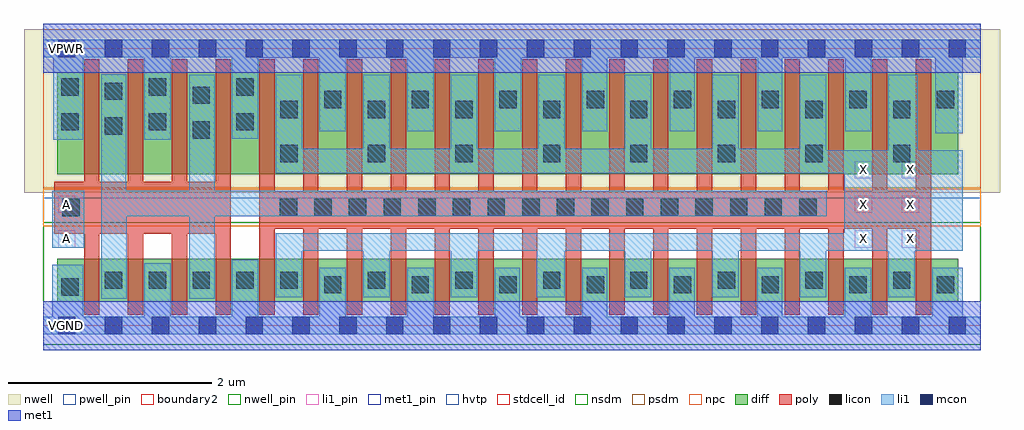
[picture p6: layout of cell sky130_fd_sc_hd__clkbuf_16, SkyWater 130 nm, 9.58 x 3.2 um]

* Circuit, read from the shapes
.subckt sky130_fd_sc_hd__clkbuf_16 A VGND VNB VPB VPWR X
XM1 n1 A VGND VNB sky130_fd_pr__nfet_01v8 w=0.42 l=0.15 m=4
XM2 X n1 VGND VNB sky130_fd_pr__nfet_01v8 w=0.42 l=0.15 m=16
XM3 n1 A VPWR VPB sky130_fd_pr__pfet_01v8_hvt w=1 l=0.15 m=4
XM4 X n1 VPWR VPB sky130_fd_pr__pfet_01v8_hvt w=1 l=0.15 m=16
.ends

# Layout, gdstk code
import gdstk
lib = gdstk.Library(unit=1e-6, precision=1e-09)
def R(c, l, rs):  # rectangles x0, y0, x1, y1
    for r in rs: c.add(gdstk.rectangle(r[:2], r[2:], *l))
def P(c, l, *ps):  # polygons
    for p in ps: c.add(gdstk.Polygon(p, *l))
nwell_pin = (64, 16)
nwell = (64, 20)
diff = (65, 20)
poly = (66, 20)
licon = (66, 44)
li1_pin = (67, 16)
li1 = (67, 20)
mcon = (67, 44)
met1_pin = (68, 16)
met1 = (68, 20)
hvtp = (78, 44)
stdcell_id = (81, 4)
nsdm = (93, 44)
psdm = (94, 20)
npc = (95, 20)
pwell_pin = (122, 16)
boundary2 = (236, 0)

sky130_fd_sc_hd__clkbuf_ = lib.new_cell('sky130_fd_sc_hd__clkbuf_16')
R(sky130_fd_sc_hd__clkbuf_, nwell_pin, [(0.145,2.635,0.315,2.805), (0.145,2.635,0.315,2.805), (0.145,2.635,0.315,2.805), (0.145,2.635,0.315,2.805), (0.145,2.635,0.315,2.805), (0.145,2.635,0.315,2.805), (0.145,2.635,0.315,2.805), (0.145,2.635,0.315,2.805)])
R(sky130_fd_sc_hd__clkbuf_, nwell, [(-0.19,1.305,9.39,2.91), (-0.19,1.305,9.39,2.91), (-0.19,1.305,9.39,2.91), (-0.19,1.305,9.39,2.91)])
R(sky130_fd_sc_hd__clkbuf_, diff, [(0.135,0.235,8.98,0.655), (0.135,0.235,8.98,0.655), (0.135,0.235,8.98,0.655), (0.135,0.235,8.98,0.655), (0.135,1.485,8.98,2.485), (0.135,1.485,8.98,2.485), (0.135,1.485,8.98,2.485), (0.135,1.485,8.98,2.485)])
P(sky130_fd_sc_hd__clkbuf_, poly, [(2.12,0.105),(2.12,2.615),(2.27,2.615),(2.27,1.325),(2.55,1.325),(2.55,2.615),(2.7,2.615),(2.7,1.325),(2.98,1.325),(2.98,2.615),(3.13,2.615),(3.13,1.325),(3.41,1.325),(3.41,2.615),(3.56,2.615),(3.56,1.325),(3.84,1.325),(3.84,2.615),(3.99,2.615),(3.99,1.325),(4.27,1.325),(4.27,2.615),(4.42,2.615),(4.42,1.325),(4.7,1.325),(4.7,2.615),(4.85,2.615),(4.85,1.325),(5.13,1.325),(5.13,2.615),(5.28,2.615),(5.28,1.325),(5.555,1.325),(5.555,2.615),(5.705,2.615),(5.705,1.325),(5.985,1.325),(5.985,2.615),(6.135,2.615),(6.135,1.325),(6.415,1.325),(6.415,2.615),(6.565,2.615),(6.565,1.325),(6.845,1.325),(6.845,2.615),(6.995,2.615),(6.995,1.325),(7.275,1.325),(7.275,2.615),(7.425,2.615),(7.425,1.325),(7.705,1.325),(7.705,2.615),(7.855,2.615),(7.855,1.325),(8.135,1.325),(8.135,2.615),(8.285,2.615),(8.285,1.325),(8.565,1.325),(8.565,2.615),(8.715,2.615),(8.715,0.105),(8.565,0.105),(8.565,0.95),(8.285,0.95),(8.285,0.105),(8.135,0.105),(8.135,0.95),(7.855,0.95),(7.855,0.105),(7.705,0.105),(7.705,0.95),(7.425,0.95),(7.425,0.105),(7.275,0.105),(7.275,0.95),(6.995,0.95),(6.995,0.105),(6.845,0.105),(6.845,0.95),(6.565,0.95),(6.565,0.105),(6.415,0.105),(6.415,0.95),(6.135,0.95),(6.135,0.105),(5.985,0.105),(5.985,0.95),(5.705,0.95),(5.705,0.105),(5.555,0.105),(5.555,0.95),(5.28,0.95),(5.28,0.105),(5.13,0.105),(5.13,0.95),(4.85,0.95),(4.85,0.105),(4.7,0.105),(4.7,0.95),(4.42,0.95),(4.42,0.105),(4.27,0.105),(4.27,0.95),(3.99,0.95),(3.99,0.105),(3.84,0.105),(3.84,0.95),(3.56,0.95),(3.56,0.105),(3.41,0.105),(3.41,0.95),(3.13,0.95),(3.13,0.105),(2.98,0.105),(2.98,0.95),(2.7,0.95),(2.7,0.105),(2.55,0.105),(2.55,0.95),(2.27,0.95),(2.27,0.105)],
  [(0.4,0.105),(0.4,0.9),(0.105,0.9),(0.105,1.41),(0.4,1.41),(0.4,2.615),(0.55,2.615),(0.55,1.41),(0.83,1.41),(0.83,2.615),(0.98,2.615),(0.98,1.41),(1.26,1.41),(1.26,2.615),(1.41,2.615),(1.41,1.41),(1.69,1.41),(1.69,2.615),(1.84,2.615),(1.84,0.105),(1.69,0.105),(1.69,0.9),(1.41,0.9),(1.41,0.105),(1.26,0.105),(1.26,0.9),(0.98,0.9),(0.98,0.105),(0.83,0.105),(0.83,0.9),(0.55,0.9),(0.55,0.105)],
  [(2.12,0.105),(2.12,2.615),(2.27,2.615),(2.27,1.325),(2.55,1.325),(2.55,2.615),(2.7,2.615),(2.7,1.325),(2.98,1.325),(2.98,2.615),(3.13,2.615),(3.13,1.325),(3.41,1.325),(3.41,2.615),(3.56,2.615),(3.56,1.325),(3.84,1.325),(3.84,2.615),(3.99,2.615),(3.99,1.325),(4.27,1.325),(4.27,2.615),(4.42,2.615),(4.42,1.325),(4.7,1.325),(4.7,2.615),(4.85,2.615),(4.85,1.325),(5.13,1.325),(5.13,2.615),(5.28,2.615),(5.28,1.325),(5.555,1.325),(5.555,2.615),(5.705,2.615),(5.705,1.325),(5.985,1.325),(5.985,2.615),(6.135,2.615),(6.135,1.325),(6.415,1.325),(6.415,2.615),(6.565,2.615),(6.565,1.325),(6.845,1.325),(6.845,2.615),(6.995,2.615),(6.995,1.325),(7.275,1.325),(7.275,2.615),(7.425,2.615),(7.425,1.325),(7.705,1.325),(7.705,2.615),(7.855,2.615),(7.855,1.325),(8.135,1.325),(8.135,2.615),(8.285,2.615),(8.285,1.325),(8.565,1.325),(8.565,2.615),(8.715,2.615),(8.715,0.105),(8.565,0.105),(8.565,0.95),(8.285,0.95),(8.285,0.105),(8.135,0.105),(8.135,0.95),(7.855,0.95),(7.855,0.105),(7.705,0.105),(7.705,0.95),(7.425,0.95),(7.425,0.105),(7.275,0.105),(7.275,0.95),(6.995,0.95),(6.995,0.105),(6.845,0.105),(6.845,0.95),(6.565,0.95),(6.565,0.105),(6.415,0.105),(6.415,0.95),(6.135,0.95),(6.135,0.105),(5.985,0.105),(5.985,0.95),(5.705,0.95),(5.705,0.105),(5.555,0.105),(5.555,0.95),(5.28,0.95),(5.28,0.105),(5.13,0.105),(5.13,0.95),(4.85,0.95),(4.85,0.105),(4.7,0.105),(4.7,0.95),(4.42,0.95),(4.42,0.105),(4.27,0.105),(4.27,0.95),(3.99,0.95),(3.99,0.105),(3.84,0.105),(3.84,0.95),(3.56,0.95),(3.56,0.105),(3.41,0.105),(3.41,0.95),(3.13,0.95),(3.13,0.105),(2.98,0.105),(2.98,0.95),(2.7,0.95),(2.7,0.105),(2.55,0.105),(2.55,0.95),(2.27,0.95),(2.27,0.105)],
  [(0.4,0.105),(0.4,0.9),(0.105,0.9),(0.105,1.41),(0.4,1.41),(0.4,2.615),(0.55,2.615),(0.55,1.41),(0.83,1.41),(0.83,2.615),(0.98,2.615),(0.98,1.41),(1.26,1.41),(1.26,2.615),(1.41,2.615),(1.41,1.41),(1.69,1.41),(1.69,2.615),(1.84,2.615),(1.84,0.105),(1.69,0.105),(1.69,0.9),(1.41,0.9),(1.41,0.105),(1.26,0.105),(1.26,0.9),(0.98,0.9),(0.98,0.105),(0.83,0.105),(0.83,0.9),(0.55,0.9),(0.55,0.105)],
  [(2.12,0.105),(2.12,2.615),(2.27,2.615),(2.27,1.325),(2.55,1.325),(2.55,2.615),(2.7,2.615),(2.7,1.325),(2.98,1.325),(2.98,2.615),(3.13,2.615),(3.13,1.325),(3.41,1.325),(3.41,2.615),(3.56,2.615),(3.56,1.325),(3.84,1.325),(3.84,2.615),(3.99,2.615),(3.99,1.325),(4.27,1.325),(4.27,2.615),(4.42,2.615),(4.42,1.325),(4.7,1.325),(4.7,2.615),(4.85,2.615),(4.85,1.325),(5.13,1.325),(5.13,2.615),(5.28,2.615),(5.28,1.325),(5.555,1.325),(5.555,2.615),(5.705,2.615),(5.705,1.325),(5.985,1.325),(5.985,2.615),(6.135,2.615),(6.135,1.325),(6.415,1.325),(6.415,2.615),(6.565,2.615),(6.565,1.325),(6.845,1.325),(6.845,2.615),(6.995,2.615),(6.995,1.325),(7.275,1.325),(7.275,2.615),(7.425,2.615),(7.425,1.325),(7.705,1.325),(7.705,2.615),(7.855,2.615),(7.855,1.325),(8.135,1.325),(8.135,2.615),(8.285,2.615),(8.285,1.325),(8.565,1.325),(8.565,2.615),(8.715,2.615),(8.715,0.105),(8.565,0.105),(8.565,0.95),(8.285,0.95),(8.285,0.105),(8.135,0.105),(8.135,0.95),(7.855,0.95),(7.855,0.105),(7.705,0.105),(7.705,0.95),(7.425,0.95),(7.425,0.105),(7.275,0.105),(7.275,0.95),(6.995,0.95),(6.995,0.105),(6.845,0.105),(6.845,0.95),(6.565,0.95),(6.565,0.105),(6.415,0.105),(6.415,0.95),(6.135,0.95),(6.135,0.105),(5.985,0.105),(5.985,0.95),(5.705,0.95),(5.705,0.105),(5.555,0.105),(5.555,0.95),(5.28,0.95),(5.28,0.105),(5.13,0.105),(5.13,0.95),(4.85,0.95),(4.85,0.105),(4.7,0.105),(4.7,0.95),(4.42,0.95),(4.42,0.105),(4.27,0.105),(4.27,0.95),(3.99,0.95),(3.99,0.105),(3.84,0.105),(3.84,0.95),(3.56,0.95),(3.56,0.105),(3.41,0.105),(3.41,0.95),(3.13,0.95),(3.13,0.105),(2.98,0.105),(2.98,0.95),(2.7,0.95),(2.7,0.105),(2.55,0.105),(2.55,0.95),(2.27,0.95),(2.27,0.105)],
  [(0.4,0.105),(0.4,0.9),(0.105,0.9),(0.105,1.41),(0.4,1.41),(0.4,2.615),(0.55,2.615),(0.55,1.41),(0.83,1.41),(0.83,2.615),(0.98,2.615),(0.98,1.41),(1.26,1.41),(1.26,2.615),(1.41,2.615),(1.41,1.41),(1.69,1.41),(1.69,2.615),(1.84,2.615),(1.84,0.105),(1.69,0.105),(1.69,0.9),(1.41,0.9),(1.41,0.105),(1.26,0.105),(1.26,0.9),(0.98,0.9),(0.98,0.105),(0.83,0.105),(0.83,0.9),(0.55,0.9),(0.55,0.105)],
  [(2.12,0.105),(2.12,2.615),(2.27,2.615),(2.27,1.325),(2.55,1.325),(2.55,2.615),(2.7,2.615),(2.7,1.325),(2.98,1.325),(2.98,2.615),(3.13,2.615),(3.13,1.325),(3.41,1.325),(3.41,2.615),(3.56,2.615),(3.56,1.325),(3.84,1.325),(3.84,2.615),(3.99,2.615),(3.99,1.325),(4.27,1.325),(4.27,2.615),(4.42,2.615),(4.42,1.325),(4.7,1.325),(4.7,2.615),(4.85,2.615),(4.85,1.325),(5.13,1.325),(5.13,2.615),(5.28,2.615),(5.28,1.325),(5.555,1.325),(5.555,2.615),(5.705,2.615),(5.705,1.325),(5.985,1.325),(5.985,2.615),(6.135,2.615),(6.135,1.325),(6.415,1.325),(6.415,2.615),(6.565,2.615),(6.565,1.325),(6.845,1.325),(6.845,2.615),(6.995,2.615),(6.995,1.325),(7.275,1.325),(7.275,2.615),(7.425,2.615),(7.425,1.325),(7.705,1.325),(7.705,2.615),(7.855,2.615),(7.855,1.325),(8.135,1.325),(8.135,2.615),(8.285,2.615),(8.285,1.325),(8.565,1.325),(8.565,2.615),(8.715,2.615),(8.715,0.105),(8.565,0.105),(8.565,0.95),(8.285,0.95),(8.285,0.105),(8.135,0.105),(8.135,0.95),(7.855,0.95),(7.855,0.105),(7.705,0.105),(7.705,0.95),(7.425,0.95),(7.425,0.105),(7.275,0.105),(7.275,0.95),(6.995,0.95),(6.995,0.105),(6.845,0.105),(6.845,0.95),(6.565,0.95),(6.565,0.105),(6.415,0.105),(6.415,0.95),(6.135,0.95),(6.135,0.105),(5.985,0.105),(5.985,0.95),(5.705,0.95),(5.705,0.105),(5.555,0.105),(5.555,0.95),(5.28,0.95),(5.28,0.105),(5.13,0.105),(5.13,0.95),(4.85,0.95),(4.85,0.105),(4.7,0.105),(4.7,0.95),(4.42,0.95),(4.42,0.105),(4.27,0.105),(4.27,0.95),(3.99,0.95),(3.99,0.105),(3.84,0.105),(3.84,0.95),(3.56,0.95),(3.56,0.105),(3.41,0.105),(3.41,0.95),(3.13,0.95),(3.13,0.105),(2.98,0.105),(2.98,0.95),(2.7,0.95),(2.7,0.105),(2.55,0.105),(2.55,0.95),(2.27,0.95),(2.27,0.105)],
  [(0.4,0.105),(0.4,0.9),(0.105,0.9),(0.105,1.41),(0.4,1.41),(0.4,2.615),(0.55,2.615),(0.55,1.41),(0.83,1.41),(0.83,2.615),(0.98,2.615),(0.98,1.41),(1.26,1.41),(1.26,2.615),(1.41,2.615),(1.41,1.41),(1.69,1.41),(1.69,2.615),(1.84,2.615),(1.84,0.105),(1.69,0.105),(1.69,0.9),(1.41,0.9),(1.41,0.105),(1.26,0.105),(1.26,0.9),(0.98,0.9),(0.98,0.105),(0.83,0.105),(0.83,0.9),(0.55,0.9),(0.55,0.105)])
R(sky130_fd_sc_hd__clkbuf_, licon, [(0.175,0.295,0.345,0.465), (0.175,0.295,0.345,0.465), (0.175,0.295,0.345,0.465), (0.175,0.295,0.345,0.465), (2.755,0.315,2.925,0.485), (2.755,0.315,2.925,0.485), (2.755,0.315,2.925,0.485), (2.755,0.315,2.925,0.485), (3.615,0.315,3.785,0.485), (3.615,0.315,3.785,0.485), (3.615,0.315,3.785,0.485), (3.615,0.315,3.785,0.485), (4.475,0.315,4.645,0.485), (4.475,0.315,4.645,0.485), (4.475,0.315,4.645,0.485), (4.475,0.315,4.645,0.485), (5.335,0.315,5.505,0.485), (5.335,0.315,5.505,0.485), (5.335,0.315,5.505,0.485), (5.335,0.315,5.505,0.485), (6.19,0.315,6.36,0.485), (6.19,0.315,6.36,0.485), (6.19,0.315,6.36,0.485), (6.19,0.315,6.36,0.485), (7.05,0.315,7.22,0.485), (7.05,0.315,7.22,0.485), (7.05,0.315,7.22,0.485), (7.05,0.315,7.22,0.485), (7.91,0.315,8.08,0.485), (7.91,0.315,8.08,0.485), (7.91,0.315,8.08,0.485), (7.91,0.315,8.08,0.485), (8.77,0.315,8.94,0.485), (8.77,0.315,8.94,0.485), (8.77,0.315,8.94,0.485), (8.77,0.315,8.94,0.485), (0.605,0.36,0.775,0.53), (0.605,0.36,0.775,0.53), (0.605,0.36,0.775,0.53), (0.605,0.36,0.775,0.53), (1.035,0.36,1.205,0.53), (1.035,0.36,1.205,0.53), (1.035,0.36,1.205,0.53), (1.035,0.36,1.205,0.53), (1.465,0.36,1.635,0.53), (1.465,0.36,1.635,0.53), (1.465,0.36,1.635,0.53), (1.465,0.36,1.635,0.53), (1.895,0.36,2.065,0.53), (1.895,0.36,2.065,0.53), (1.895,0.36,2.065,0.53), (1.895,0.36,2.065,0.53), (2.325,0.36,2.495,0.53), (2.325,0.36,2.495,0.53), (2.325,0.36,2.495,0.53), (2.325,0.36,2.495,0.53), (3.185,0.36,3.355,0.53), (3.185,0.36,3.355,0.53), (3.185,0.36,3.355,0.53), (3.185,0.36,3.355,0.53), (4.045,0.36,4.215,0.53), (4.045,0.36,4.215,0.53), (4.045,0.36,4.215,0.53), (4.045,0.36,4.215,0.53), (4.905,0.36,5.075,0.53), (4.905,0.36,5.075,0.53), (4.905,0.36,5.075,0.53), (4.905,0.36,5.075,0.53), (5.76,0.36,5.93,0.53), (5.76,0.36,5.93,0.53), (5.76,0.36,5.93,0.53), (5.76,0.36,5.93,0.53), (6.62,0.36,6.79,0.53), (6.62,0.36,6.79,0.53), (6.62,0.36,6.79,0.53), (6.62,0.36,6.79,0.53), (7.48,0.36,7.65,0.53), (7.48,0.36,7.65,0.53), (7.48,0.36,7.65,0.53), (7.48,0.36,7.65,0.53), (8.34,0.36,8.51,0.53), (8.34,0.36,8.51,0.53), (8.34,0.36,8.51,0.53), (8.34,0.36,8.51,0.53), (0.185,1.075,0.355,1.245), (0.185,1.075,0.355,1.245), (0.185,1.075,0.355,1.245), (0.185,1.075,0.355,1.245), (2.32,1.075,2.49,1.245), (2.32,1.075,2.49,1.245), (2.32,1.075,2.49,1.245), (2.32,1.075,2.49,1.245), (2.66,1.075,2.83,1.245), (2.66,1.075,2.83,1.245), (2.66,1.075,2.83,1.245), (2.66,1.075,2.83,1.245), (3,1.075,3.17,1.245), (3,1.075,3.17,1.245), (3,1.075,3.17,1.245), (3,1.075,3.17,1.245), (3.34,1.075,3.51,1.245), (3.34,1.075,3.51,1.245), (3.34,1.075,3.51,1.245), (3.34,1.075,3.51,1.245), (3.68,1.075,3.85,1.245), (3.68,1.075,3.85,1.245), (3.68,1.075,3.85,1.245), (3.68,1.075,3.85,1.245), (4.02,1.075,4.19,1.245), (4.02,1.075,4.19,1.245), (4.02,1.075,4.19,1.245), (4.02,1.075,4.19,1.245), (4.36,1.075,4.53,1.245), (4.36,1.075,4.53,1.245), (4.36,1.075,4.53,1.245), (4.36,1.075,4.53,1.245), (4.7,1.075,4.87,1.245), (4.7,1.075,4.87,1.245), (4.7,1.075,4.87,1.245), (4.7,1.075,4.87,1.245), (5.04,1.075,5.21,1.245), (5.04,1.075,5.21,1.245), (5.04,1.075,5.21,1.245), (5.04,1.075,5.21,1.245), (5.38,1.075,5.55,1.245), (5.38,1.075,5.55,1.245), (5.38,1.075,5.55,1.245), (5.38,1.075,5.55,1.245), (5.72,1.075,5.89,1.245), (5.72,1.075,5.89,1.245), (5.72,1.075,5.89,1.245), (5.72,1.075,5.89,1.245), (6.06,1.075,6.23,1.245), (6.06,1.075,6.23,1.245), (6.06,1.075,6.23,1.245), (6.06,1.075,6.23,1.245), (6.4,1.075,6.57,1.245), (6.4,1.075,6.57,1.245), (6.4,1.075,6.57,1.245), (6.4,1.075,6.57,1.245), (6.74,1.075,6.91,1.245), (6.74,1.075,6.91,1.245), (6.74,1.075,6.91,1.245), (6.74,1.075,6.91,1.245), (7.08,1.075,7.25,1.245), (7.08,1.075,7.25,1.245), (7.08,1.075,7.25,1.245), (7.08,1.075,7.25,1.245), (7.42,1.075,7.59,1.245), (7.42,1.075,7.59,1.245), (7.42,1.075,7.59,1.245), (7.42,1.075,7.59,1.245), (2.325,1.605,2.495,1.775), (2.325,1.605,2.495,1.775), (2.325,1.605,2.495,1.775), (2.325,1.605,2.495,1.775), (3.185,1.605,3.355,1.775), (3.185,1.605,3.355,1.775), (3.185,1.605,3.355,1.775), (3.185,1.605,3.355,1.775), (4.045,1.605,4.215,1.775), (4.045,1.605,4.215,1.775), (4.045,1.605,4.215,1.775), (4.045,1.605,4.215,1.775), (4.905,1.605,5.075,1.775), (4.905,1.605,5.075,1.775), (4.905,1.605,5.075,1.775), (4.905,1.605,5.075,1.775), (5.76,1.605,5.93,1.775), (5.76,1.605,5.93,1.775), (5.76,1.605,5.93,1.775), (5.76,1.605,5.93,1.775), (6.62,1.605,6.79,1.775), (6.62,1.605,6.79,1.775), (6.62,1.605,6.79,1.775), (6.62,1.605,6.79,1.775), (7.48,1.605,7.65,1.775), (7.48,1.605,7.65,1.775), (7.48,1.605,7.65,1.775), (7.48,1.605,7.65,1.775), (8.34,1.605,8.51,1.775), (8.34,1.605,8.51,1.775), (8.34,1.605,8.51,1.775), (8.34,1.605,8.51,1.775), (1.465,1.835,1.635,2.005), (1.465,1.835,1.635,2.005), (1.465,1.835,1.635,2.005), (1.465,1.835,1.635,2.005), (0.605,1.875,0.775,2.045), (0.605,1.875,0.775,2.045), (0.605,1.875,0.775,2.045), (0.605,1.875,0.775,2.045), (0.175,1.915,0.345,2.085), (0.175,1.915,0.345,2.085), (0.175,1.915,0.345,2.085), (0.175,1.915,0.345,2.085), (1.035,1.915,1.205,2.085), (1.035,1.915,1.205,2.085), (1.035,1.915,1.205,2.085), (1.035,1.915,1.205,2.085), (1.895,1.915,2.065,2.085), (1.895,1.915,2.065,2.085), (1.895,1.915,2.065,2.085), (1.895,1.915,2.065,2.085), (2.325,2.035,2.495,2.205), (2.325,2.035,2.495,2.205), (2.325,2.035,2.495,2.205), (2.325,2.035,2.495,2.205), (3.185,2.035,3.355,2.205), (3.185,2.035,3.355,2.205), (3.185,2.035,3.355,2.205), (3.185,2.035,3.355,2.205), (4.045,2.035,4.215,2.205), (4.045,2.035,4.215,2.205), (4.045,2.035,4.215,2.205), (4.045,2.035,4.215,2.205), (4.905,2.035,5.075,2.205), (4.905,2.035,5.075,2.205), (4.905,2.035,5.075,2.205), (4.905,2.035,5.075,2.205), (5.76,2.035,5.93,2.205), (5.76,2.035,5.93,2.205), (5.76,2.035,5.93,2.205), (5.76,2.035,5.93,2.205), (6.62,2.035,6.79,2.205), (6.62,2.035,6.79,2.205), (6.62,2.035,6.79,2.205), (6.62,2.035,6.79,2.205), (7.48,2.035,7.65,2.205), (7.48,2.035,7.65,2.205), (7.48,2.035,7.65,2.205), (7.48,2.035,7.65,2.205), (8.34,2.035,8.51,2.205), (8.34,2.035,8.51,2.205), (8.34,2.035,8.51,2.205), (8.34,2.035,8.51,2.205), (2.755,2.135,2.925,2.305), (2.755,2.135,2.925,2.305), (2.755,2.135,2.925,2.305), (2.755,2.135,2.925,2.305), (3.615,2.135,3.785,2.305), (3.615,2.135,3.785,2.305), (3.615,2.135,3.785,2.305), (3.615,2.135,3.785,2.305), (4.475,2.135,4.645,2.305), (4.475,2.135,4.645,2.305), (4.475,2.135,4.645,2.305), (4.475,2.135,4.645,2.305), (5.335,2.135,5.505,2.305), (5.335,2.135,5.505,2.305), (5.335,2.135,5.505,2.305), (5.335,2.135,5.505,2.305), (6.19,2.135,6.36,2.305), (6.19,2.135,6.36,2.305), (6.19,2.135,6.36,2.305), (6.19,2.135,6.36,2.305), (7.05,2.135,7.22,2.305), (7.05,2.135,7.22,2.305), (7.05,2.135,7.22,2.305), (7.05,2.135,7.22,2.305), (7.91,2.135,8.08,2.305), (7.91,2.135,8.08,2.305), (7.91,2.135,8.08,2.305), (7.91,2.135,8.08,2.305), (8.77,2.135,8.94,2.305), (8.77,2.135,8.94,2.305), (8.77,2.135,8.94,2.305), (8.77,2.135,8.94,2.305), (1.465,2.175,1.635,2.345), (1.465,2.175,1.635,2.345), (1.465,2.175,1.635,2.345), (1.465,2.175,1.635,2.345), (0.605,2.215,0.775,2.385), (0.605,2.215,0.775,2.385), (0.605,2.215,0.775,2.385), (0.605,2.215,0.775,2.385), (0.175,2.255,0.345,2.425), (0.175,2.255,0.345,2.425), (0.175,2.255,0.345,2.425), (0.175,2.255,0.345,2.425), (1.035,2.255,1.205,2.425), (1.035,2.255,1.205,2.425), (1.035,2.255,1.205,2.425), (1.035,2.255,1.205,2.425), (1.895,2.255,2.065,2.425), (1.895,2.255,2.065,2.425), (1.895,2.255,2.065,2.425), (1.895,2.255,2.065,2.425)])
R(sky130_fd_sc_hd__clkbuf_, li1_pin, [(0.145,0.765,0.315,0.935), (0.145,0.765,0.315,0.935), (0.145,0.765,0.315,0.935), (0.145,0.765,0.315,0.935), (7.965,0.765,8.135,0.935), (7.965,0.765,8.135,0.935), (7.965,0.765,8.135,0.935), (7.965,0.765,8.135,0.935), (8.425,0.765,8.595,0.935), (8.425,0.765,8.595,0.935), (8.425,0.765,8.595,0.935), (8.425,0.765,8.595,0.935), (0.145,1.105,0.315,1.275), (0.145,1.105,0.315,1.275), (0.145,1.105,0.315,1.275), (0.145,1.105,0.315,1.275), (7.965,1.105,8.135,1.275), (7.965,1.105,8.135,1.275), (7.965,1.105,8.135,1.275), (7.965,1.105,8.135,1.275), (8.425,1.105,8.595,1.275), (8.425,1.105,8.595,1.275), (8.425,1.105,8.595,1.275), (8.425,1.105,8.595,1.275), (7.965,1.445,8.135,1.615), (7.965,1.445,8.135,1.615), (7.965,1.445,8.135,1.615), (7.965,1.445,8.135,1.615), (8.425,1.445,8.595,1.615), (8.425,1.445,8.595,1.615), (8.425,1.445,8.595,1.615), (8.425,1.445,8.595,1.615)])
R(sky130_fd_sc_hd__clkbuf_, li1, [(0.085,0.765,0.4,1.325), (0.085,0.765,0.4,1.325), (0.085,0.765,0.4,1.325), (0.085,0.765,0.4,1.325)])
P(sky130_fd_sc_hd__clkbuf_, li1, [(0.095,1.825),(0.095,2.635),(0,2.635),(0,2.805),(9.2,2.805),(9.2,2.635),(9.025,2.635),(9.025,1.89),(8.755,1.89),(8.755,2.635),(8.125,2.635),(8.125,1.905),(7.87,1.905),(7.87,2.63),(7.255,2.63),(7.255,1.905),(7.01,1.905),(7.01,2.63),(6.395,2.63),(6.395,1.905),(6.15,1.905),(6.15,2.63),(5.535,2.63),(5.535,1.905),(5.29,1.905),(5.29,2.63),(4.69,2.63),(4.69,1.905),(4.43,1.905),(4.43,2.63),(3.83,2.63),(3.83,1.905),(3.57,1.905),(3.57,2.63),(2.97,2.63),(2.97,1.905),(2.71,1.905),(2.71,2.63),(2.11,2.63),(2.11,1.835),(1.85,1.835),(1.85,2.635),(1.25,2.635),(1.25,1.825),(0.99,1.825),(0.99,2.635),(0.39,2.635),(0.39,1.825)],
  [(2.28,0.28),(2.28,0.905),(7.86,0.905),(7.86,1.495),(2.28,1.495),(2.28,2.46),(2.54,2.46),(2.54,1.735),(3.14,1.735),(3.14,2.46),(3.4,2.46),(3.4,1.735),(4,1.735),(4,2.46),(4.26,2.46),(4.26,1.735),(4.86,1.735),(4.86,2.46),(5.12,2.46),(5.12,1.735),(5.705,1.735),(5.705,2.46),(5.965,2.46),(5.965,1.735),(6.565,1.735),(6.565,2.46),(6.825,2.46),(6.825,1.735),(7.425,1.735),(7.425,2.46),(7.685,2.46),(7.685,1.72),(8.295,1.72),(8.295,2.46),(8.585,2.46),(8.585,1.72),(9.025,1.72),(9.025,0.735),(8.555,0.735),(8.555,0.28),(8.295,0.28),(8.295,0.735),(7.685,0.735),(7.685,0.28),(7.425,0.28),(7.425,0.735),(6.825,0.735),(6.825,0.28),(6.565,0.28),(6.565,0.735),(5.965,0.735),(5.965,0.28),(5.705,0.28),(5.705,0.735),(5.12,0.735),(5.12,0.28),(4.845,0.28),(4.845,0.735),(4.26,0.735),(4.26,0.28),(4,0.28),(4,0.735),(3.4,0.735),(3.4,0.28),(3.14,0.28),(3.14,0.735),(2.54,0.735),(2.54,0.28)],
  [(0,-0.085),(0,0.085),(0.085,0.085),(0.085,0.595),(0.39,0.595),(0.39,0.085),(0.99,0.085),(0.99,0.61),(1.25,0.61),(1.25,0.085),(1.85,0.085),(1.85,0.645),(2.11,0.645),(2.11,0.085),(2.71,0.085),(2.71,0.565),(2.97,0.565),(2.97,0.085),(3.57,0.085),(3.57,0.565),(3.83,0.565),(3.83,0.085),(4.43,0.085),(4.43,0.565),(4.675,0.565),(4.675,0.085),(5.29,0.085),(5.29,0.565),(5.535,0.565),(5.535,0.085),(6.145,0.085),(6.145,0.565),(6.395,0.565),(6.395,0.085),(7.005,0.085),(7.005,0.565),(7.255,0.565),(7.255,0.085),(7.865,0.085),(7.865,0.565),(8.125,0.565),(8.125,0.085),(8.725,0.085),(8.725,0.565),(9.025,0.565),(9.025,0.085),(9.2,0.085),(9.2,-0.085)],
  [(0.57,0.265),(0.57,2.465),(0.815,2.465),(0.815,1.325),(1.43,1.325),(1.43,2.46),(1.68,2.46),(1.68,1.325),(7.69,1.325),(7.69,1.075),(1.68,1.075),(1.68,0.265),(1.43,0.265),(1.43,1.075),(0.82,1.075),(0.82,0.265)],
  [(0.095,1.825),(0.095,2.635),(0,2.635),(0,2.805),(9.2,2.805),(9.2,2.635),(9.025,2.635),(9.025,1.89),(8.755,1.89),(8.755,2.635),(8.125,2.635),(8.125,1.905),(7.87,1.905),(7.87,2.63),(7.255,2.63),(7.255,1.905),(7.01,1.905),(7.01,2.63),(6.395,2.63),(6.395,1.905),(6.15,1.905),(6.15,2.63),(5.535,2.63),(5.535,1.905),(5.29,1.905),(5.29,2.63),(4.69,2.63),(4.69,1.905),(4.43,1.905),(4.43,2.63),(3.83,2.63),(3.83,1.905),(3.57,1.905),(3.57,2.63),(2.97,2.63),(2.97,1.905),(2.71,1.905),(2.71,2.63),(2.11,2.63),(2.11,1.835),(1.85,1.835),(1.85,2.635),(1.25,2.635),(1.25,1.825),(0.99,1.825),(0.99,2.635),(0.39,2.635),(0.39,1.825)],
  [(2.28,0.28),(2.28,0.905),(7.86,0.905),(7.86,1.495),(2.28,1.495),(2.28,2.46),(2.54,2.46),(2.54,1.735),(3.14,1.735),(3.14,2.46),(3.4,2.46),(3.4,1.735),(4,1.735),(4,2.46),(4.26,2.46),(4.26,1.735),(4.86,1.735),(4.86,2.46),(5.12,2.46),(5.12,1.735),(5.705,1.735),(5.705,2.46),(5.965,2.46),(5.965,1.735),(6.565,1.735),(6.565,2.46),(6.825,2.46),(6.825,1.735),(7.425,1.735),(7.425,2.46),(7.685,2.46),(7.685,1.72),(8.295,1.72),(8.295,2.46),(8.585,2.46),(8.585,1.72),(9.025,1.72),(9.025,0.735),(8.555,0.735),(8.555,0.28),(8.295,0.28),(8.295,0.735),(7.685,0.735),(7.685,0.28),(7.425,0.28),(7.425,0.735),(6.825,0.735),(6.825,0.28),(6.565,0.28),(6.565,0.735),(5.965,0.735),(5.965,0.28),(5.705,0.28),(5.705,0.735),(5.12,0.735),(5.12,0.28),(4.845,0.28),(4.845,0.735),(4.26,0.735),(4.26,0.28),(4,0.28),(4,0.735),(3.4,0.735),(3.4,0.28),(3.14,0.28),(3.14,0.735),(2.54,0.735),(2.54,0.28)],
  [(0,-0.085),(0,0.085),(0.085,0.085),(0.085,0.595),(0.39,0.595),(0.39,0.085),(0.99,0.085),(0.99,0.61),(1.25,0.61),(1.25,0.085),(1.85,0.085),(1.85,0.645),(2.11,0.645),(2.11,0.085),(2.71,0.085),(2.71,0.565),(2.97,0.565),(2.97,0.085),(3.57,0.085),(3.57,0.565),(3.83,0.565),(3.83,0.085),(4.43,0.085),(4.43,0.565),(4.675,0.565),(4.675,0.085),(5.29,0.085),(5.29,0.565),(5.535,0.565),(5.535,0.085),(6.145,0.085),(6.145,0.565),(6.395,0.565),(6.395,0.085),(7.005,0.085),(7.005,0.565),(7.255,0.565),(7.255,0.085),(7.865,0.085),(7.865,0.565),(8.125,0.565),(8.125,0.085),(8.725,0.085),(8.725,0.565),(9.025,0.565),(9.025,0.085),(9.2,0.085),(9.2,-0.085)],
  [(0.57,0.265),(0.57,2.465),(0.815,2.465),(0.815,1.325),(1.43,1.325),(1.43,2.46),(1.68,2.46),(1.68,1.325),(7.69,1.325),(7.69,1.075),(1.68,1.075),(1.68,0.265),(1.43,0.265),(1.43,1.075),(0.82,1.075),(0.82,0.265)],
  [(0.095,1.825),(0.095,2.635),(0,2.635),(0,2.805),(9.2,2.805),(9.2,2.635),(9.025,2.635),(9.025,1.89),(8.755,1.89),(8.755,2.635),(8.125,2.635),(8.125,1.905),(7.87,1.905),(7.87,2.63),(7.255,2.63),(7.255,1.905),(7.01,1.905),(7.01,2.63),(6.395,2.63),(6.395,1.905),(6.15,1.905),(6.15,2.63),(5.535,2.63),(5.535,1.905),(5.29,1.905),(5.29,2.63),(4.69,2.63),(4.69,1.905),(4.43,1.905),(4.43,2.63),(3.83,2.63),(3.83,1.905),(3.57,1.905),(3.57,2.63),(2.97,2.63),(2.97,1.905),(2.71,1.905),(2.71,2.63),(2.11,2.63),(2.11,1.835),(1.85,1.835),(1.85,2.635),(1.25,2.635),(1.25,1.825),(0.99,1.825),(0.99,2.635),(0.39,2.635),(0.39,1.825)],
  [(2.28,0.28),(2.28,0.905),(7.86,0.905),(7.86,1.495),(2.28,1.495),(2.28,2.46),(2.54,2.46),(2.54,1.735),(3.14,1.735),(3.14,2.46),(3.4,2.46),(3.4,1.735),(4,1.735),(4,2.46),(4.26,2.46),(4.26,1.735),(4.86,1.735),(4.86,2.46),(5.12,2.46),(5.12,1.735),(5.705,1.735),(5.705,2.46),(5.965,2.46),(5.965,1.735),(6.565,1.735),(6.565,2.46),(6.825,2.46),(6.825,1.735),(7.425,1.735),(7.425,2.46),(7.685,2.46),(7.685,1.72),(8.295,1.72),(8.295,2.46),(8.585,2.46),(8.585,1.72),(9.025,1.72),(9.025,0.735),(8.555,0.735),(8.555,0.28),(8.295,0.28),(8.295,0.735),(7.685,0.735),(7.685,0.28),(7.425,0.28),(7.425,0.735),(6.825,0.735),(6.825,0.28),(6.565,0.28),(6.565,0.735),(5.965,0.735),(5.965,0.28),(5.705,0.28),(5.705,0.735),(5.12,0.735),(5.12,0.28),(4.845,0.28),(4.845,0.735),(4.26,0.735),(4.26,0.28),(4,0.28),(4,0.735),(3.4,0.735),(3.4,0.28),(3.14,0.28),(3.14,0.735),(2.54,0.735),(2.54,0.28)],
  [(0,-0.085),(0,0.085),(0.085,0.085),(0.085,0.595),(0.39,0.595),(0.39,0.085),(0.99,0.085),(0.99,0.61),(1.25,0.61),(1.25,0.085),(1.85,0.085),(1.85,0.645),(2.11,0.645),(2.11,0.085),(2.71,0.085),(2.71,0.565),(2.97,0.565),(2.97,0.085),(3.57,0.085),(3.57,0.565),(3.83,0.565),(3.83,0.085),(4.43,0.085),(4.43,0.565),(4.675,0.565),(4.675,0.085),(5.29,0.085),(5.29,0.565),(5.535,0.565),(5.535,0.085),(6.145,0.085),(6.145,0.565),(6.395,0.565),(6.395,0.085),(7.005,0.085),(7.005,0.565),(7.255,0.565),(7.255,0.085),(7.865,0.085),(7.865,0.565),(8.125,0.565),(8.125,0.085),(8.725,0.085),(8.725,0.565),(9.025,0.565),(9.025,0.085),(9.2,0.085),(9.2,-0.085)],
  [(0.57,0.265),(0.57,2.465),(0.815,2.465),(0.815,1.325),(1.43,1.325),(1.43,2.46),(1.68,2.46),(1.68,1.325),(7.69,1.325),(7.69,1.075),(1.68,1.075),(1.68,0.265),(1.43,0.265),(1.43,1.075),(0.82,1.075),(0.82,0.265)],
  [(0.095,1.825),(0.095,2.635),(0,2.635),(0,2.805),(9.2,2.805),(9.2,2.635),(9.025,2.635),(9.025,1.89),(8.755,1.89),(8.755,2.635),(8.125,2.635),(8.125,1.905),(7.87,1.905),(7.87,2.63),(7.255,2.63),(7.255,1.905),(7.01,1.905),(7.01,2.63),(6.395,2.63),(6.395,1.905),(6.15,1.905),(6.15,2.63),(5.535,2.63),(5.535,1.905),(5.29,1.905),(5.29,2.63),(4.69,2.63),(4.69,1.905),(4.43,1.905),(4.43,2.63),(3.83,2.63),(3.83,1.905),(3.57,1.905),(3.57,2.63),(2.97,2.63),(2.97,1.905),(2.71,1.905),(2.71,2.63),(2.11,2.63),(2.11,1.835),(1.85,1.835),(1.85,2.635),(1.25,2.635),(1.25,1.825),(0.99,1.825),(0.99,2.635),(0.39,2.635),(0.39,1.825)],
  [(2.28,0.28),(2.28,0.905),(7.86,0.905),(7.86,1.495),(2.28,1.495),(2.28,2.46),(2.54,2.46),(2.54,1.735),(3.14,1.735),(3.14,2.46),(3.4,2.46),(3.4,1.735),(4,1.735),(4,2.46),(4.26,2.46),(4.26,1.735),(4.86,1.735),(4.86,2.46),(5.12,2.46),(5.12,1.735),(5.705,1.735),(5.705,2.46),(5.965,2.46),(5.965,1.735),(6.565,1.735),(6.565,2.46),(6.825,2.46),(6.825,1.735),(7.425,1.735),(7.425,2.46),(7.685,2.46),(7.685,1.72),(8.295,1.72),(8.295,2.46),(8.585,2.46),(8.585,1.72),(9.025,1.72),(9.025,0.735),(8.555,0.735),(8.555,0.28),(8.295,0.28),(8.295,0.735),(7.685,0.735),(7.685,0.28),(7.425,0.28),(7.425,0.735),(6.825,0.735),(6.825,0.28),(6.565,0.28),(6.565,0.735),(5.965,0.735),(5.965,0.28),(5.705,0.28),(5.705,0.735),(5.12,0.735),(5.12,0.28),(4.845,0.28),(4.845,0.735),(4.26,0.735),(4.26,0.28),(4,0.28),(4,0.735),(3.4,0.735),(3.4,0.28),(3.14,0.28),(3.14,0.735),(2.54,0.735),(2.54,0.28)],
  [(0,-0.085),(0,0.085),(0.085,0.085),(0.085,0.595),(0.39,0.595),(0.39,0.085),(0.99,0.085),(0.99,0.61),(1.25,0.61),(1.25,0.085),(1.85,0.085),(1.85,0.645),(2.11,0.645),(2.11,0.085),(2.71,0.085),(2.71,0.565),(2.97,0.565),(2.97,0.085),(3.57,0.085),(3.57,0.565),(3.83,0.565),(3.83,0.085),(4.43,0.085),(4.43,0.565),(4.675,0.565),(4.675,0.085),(5.29,0.085),(5.29,0.565),(5.535,0.565),(5.535,0.085),(6.145,0.085),(6.145,0.565),(6.395,0.565),(6.395,0.085),(7.005,0.085),(7.005,0.565),(7.255,0.565),(7.255,0.085),(7.865,0.085),(7.865,0.565),(8.125,0.565),(8.125,0.085),(8.725,0.085),(8.725,0.565),(9.025,0.565),(9.025,0.085),(9.2,0.085),(9.2,-0.085)],
  [(0.57,0.265),(0.57,2.465),(0.815,2.465),(0.815,1.325),(1.43,1.325),(1.43,2.46),(1.68,2.46),(1.68,1.325),(7.69,1.325),(7.69,1.075),(1.68,1.075),(1.68,0.265),(1.43,0.265),(1.43,1.075),(0.82,1.075),(0.82,0.265)])
R(sky130_fd_sc_hd__clkbuf_, mcon, [(0.145,-0.085,0.315,0.085), (0.145,-0.085,0.315,0.085), (0.145,-0.085,0.315,0.085), (0.145,-0.085,0.315,0.085), (0.605,-0.085,0.775,0.085), (0.605,-0.085,0.775,0.085), (0.605,-0.085,0.775,0.085), (0.605,-0.085,0.775,0.085), (1.065,-0.085,1.235,0.085), (1.065,-0.085,1.235,0.085), (1.065,-0.085,1.235,0.085), (1.065,-0.085,1.235,0.085), (1.525,-0.085,1.695,0.085), (1.525,-0.085,1.695,0.085), (1.525,-0.085,1.695,0.085), (1.525,-0.085,1.695,0.085), (1.985,-0.085,2.155,0.085), (1.985,-0.085,2.155,0.085), (1.985,-0.085,2.155,0.085), (1.985,-0.085,2.155,0.085), (2.445,-0.085,2.615,0.085), (2.445,-0.085,2.615,0.085), (2.445,-0.085,2.615,0.085), (2.445,-0.085,2.615,0.085), (2.905,-0.085,3.075,0.085), (2.905,-0.085,3.075,0.085), (2.905,-0.085,3.075,0.085), (2.905,-0.085,3.075,0.085), (3.365,-0.085,3.535,0.085), (3.365,-0.085,3.535,0.085), (3.365,-0.085,3.535,0.085), (3.365,-0.085,3.535,0.085), (3.825,-0.085,3.995,0.085), (3.825,-0.085,3.995,0.085), (3.825,-0.085,3.995,0.085), (3.825,-0.085,3.995,0.085), (4.285,-0.085,4.455,0.085), (4.285,-0.085,4.455,0.085), (4.285,-0.085,4.455,0.085), (4.285,-0.085,4.455,0.085), (4.745,-0.085,4.915,0.085), (4.745,-0.085,4.915,0.085), (4.745,-0.085,4.915,0.085), (4.745,-0.085,4.915,0.085), (5.205,-0.085,5.375,0.085), (5.205,-0.085,5.375,0.085), (5.205,-0.085,5.375,0.085), (5.205,-0.085,5.375,0.085), (5.665,-0.085,5.835,0.085), (5.665,-0.085,5.835,0.085), (5.665,-0.085,5.835,0.085), (5.665,-0.085,5.835,0.085), (6.125,-0.085,6.295,0.085), (6.125,-0.085,6.295,0.085), (6.125,-0.085,6.295,0.085), (6.125,-0.085,6.295,0.085), (6.585,-0.085,6.755,0.085), (6.585,-0.085,6.755,0.085), (6.585,-0.085,6.755,0.085), (6.585,-0.085,6.755,0.085), (7.045,-0.085,7.215,0.085), (7.045,-0.085,7.215,0.085), (7.045,-0.085,7.215,0.085), (7.045,-0.085,7.215,0.085), (7.505,-0.085,7.675,0.085), (7.505,-0.085,7.675,0.085), (7.505,-0.085,7.675,0.085), (7.505,-0.085,7.675,0.085), (7.965,-0.085,8.135,0.085), (7.965,-0.085,8.135,0.085), (7.965,-0.085,8.135,0.085), (7.965,-0.085,8.135,0.085), (8.425,-0.085,8.595,0.085), (8.425,-0.085,8.595,0.085), (8.425,-0.085,8.595,0.085), (8.425,-0.085,8.595,0.085), (8.885,-0.085,9.055,0.085), (8.885,-0.085,9.055,0.085), (8.885,-0.085,9.055,0.085), (8.885,-0.085,9.055,0.085), (0.145,2.635,0.315,2.805), (0.145,2.635,0.315,2.805), (0.145,2.635,0.315,2.805), (0.145,2.635,0.315,2.805), (0.605,2.635,0.775,2.805), (0.605,2.635,0.775,2.805), (0.605,2.635,0.775,2.805), (0.605,2.635,0.775,2.805), (1.065,2.635,1.235,2.805), (1.065,2.635,1.235,2.805), (1.065,2.635,1.235,2.805), (1.065,2.635,1.235,2.805), (1.525,2.635,1.695,2.805), (1.525,2.635,1.695,2.805), (1.525,2.635,1.695,2.805), (1.525,2.635,1.695,2.805), (1.985,2.635,2.155,2.805), (1.985,2.635,2.155,2.805), (1.985,2.635,2.155,2.805), (1.985,2.635,2.155,2.805), (2.445,2.635,2.615,2.805), (2.445,2.635,2.615,2.805), (2.445,2.635,2.615,2.805), (2.445,2.635,2.615,2.805), (2.905,2.635,3.075,2.805), (2.905,2.635,3.075,2.805), (2.905,2.635,3.075,2.805), (2.905,2.635,3.075,2.805), (3.365,2.635,3.535,2.805), (3.365,2.635,3.535,2.805), (3.365,2.635,3.535,2.805), (3.365,2.635,3.535,2.805), (3.825,2.635,3.995,2.805), (3.825,2.635,3.995,2.805), (3.825,2.635,3.995,2.805), (3.825,2.635,3.995,2.805), (4.285,2.635,4.455,2.805), (4.285,2.635,4.455,2.805), (4.285,2.635,4.455,2.805), (4.285,2.635,4.455,2.805), (4.745,2.635,4.915,2.805), (4.745,2.635,4.915,2.805), (4.745,2.635,4.915,2.805), (4.745,2.635,4.915,2.805), (5.205,2.635,5.375,2.805), (5.205,2.635,5.375,2.805), (5.205,2.635,5.375,2.805), (5.205,2.635,5.375,2.805), (5.665,2.635,5.835,2.805), (5.665,2.635,5.835,2.805), (5.665,2.635,5.835,2.805), (5.665,2.635,5.835,2.805), (6.125,2.635,6.295,2.805), (6.125,2.635,6.295,2.805), (6.125,2.635,6.295,2.805), (6.125,2.635,6.295,2.805), (6.585,2.635,6.755,2.805), (6.585,2.635,6.755,2.805), (6.585,2.635,6.755,2.805), (6.585,2.635,6.755,2.805), (7.045,2.635,7.215,2.805), (7.045,2.635,7.215,2.805), (7.045,2.635,7.215,2.805), (7.045,2.635,7.215,2.805), (7.505,2.635,7.675,2.805), (7.505,2.635,7.675,2.805), (7.505,2.635,7.675,2.805), (7.505,2.635,7.675,2.805), (7.965,2.635,8.135,2.805), (7.965,2.635,8.135,2.805), (7.965,2.635,8.135,2.805), (7.965,2.635,8.135,2.805), (8.425,2.635,8.595,2.805), (8.425,2.635,8.595,2.805), (8.425,2.635,8.595,2.805), (8.425,2.635,8.595,2.805), (8.885,2.635,9.055,2.805), (8.885,2.635,9.055,2.805), (8.885,2.635,9.055,2.805), (8.885,2.635,9.055,2.805)])
R(sky130_fd_sc_hd__clkbuf_, met1_pin, [(0.145,-0.085,0.315,0.085), (0.145,-0.085,0.315,0.085), (0.145,-0.085,0.315,0.085), (0.145,-0.085,0.315,0.085), (0.145,2.635,0.315,2.805), (0.145,2.635,0.315,2.805), (0.145,2.635,0.315,2.805), (0.145,2.635,0.315,2.805)])
R(sky130_fd_sc_hd__clkbuf_, met1, [(0,-0.24,9.2,0.24), (0,-0.24,9.2,0.24), (0,-0.24,9.2,0.24), (0,-0.24,9.2,0.24), (0,2.48,9.2,2.96), (0,2.48,9.2,2.96), (0,2.48,9.2,2.96), (0,2.48,9.2,2.96)])
R(sky130_fd_sc_hd__clkbuf_, hvtp, [(0,1.25,9.2,2.72), (0,1.25,9.2,2.72), (0,1.25,9.2,2.72), (0,1.25,9.2,2.72)])
R(sky130_fd_sc_hd__clkbuf_, stdcell_id, [(0,0,9.2,2.72), (0,0,9.2,2.72), (0,0,9.2,2.72), (0,0,9.2,2.72)])
R(sky130_fd_sc_hd__clkbuf_, nsdm, [(0,-0.19,9.2,1.015), (0,-0.19,9.2,1.015), (0,-0.19,9.2,1.015), (0,-0.19,9.2,1.015)])
R(sky130_fd_sc_hd__clkbuf_, psdm, [(0,1.355,9.2,2.91), (0,1.355,9.2,2.91), (0,1.355,9.2,2.91), (0,1.355,9.2,2.91)])
R(sky130_fd_sc_hd__clkbuf_, npc, [(0,0.975,9.2,1.345), (0,0.975,9.2,1.345), (0,0.975,9.2,1.345), (0,0.975,9.2,1.345)])
R(sky130_fd_sc_hd__clkbuf_, pwell_pin, [(0.145,-0.085,0.315,0.085), (0.145,-0.085,0.315,0.085), (0.145,-0.085,0.315,0.085), (0.145,-0.085,0.315,0.085), (0.145,-0.085,0.315,0.085), (0.145,-0.085,0.315,0.085), (0.145,-0.085,0.315,0.085), (0.145,-0.085,0.315,0.085)])
R(sky130_fd_sc_hd__clkbuf_, boundary2, [(0,0,9.2,2.72), (0,0,9.2,2.72), (0,0,9.2,2.72), (0,0,9.2,2.72)])
sky130_fd_sc_hd__clkbuf_.add(gdstk.Label('X', (8.05,1.53), layer=67, texttype=5))
sky130_fd_sc_hd__clkbuf_.add(gdstk.Label('X', (8.51,1.53), layer=67, texttype=5))
sky130_fd_sc_hd__clkbuf_.add(gdstk.Label('X', (8.51,1.19), layer=67, texttype=5))
sky130_fd_sc_hd__clkbuf_.add(gdstk.Label('X', (8.05,1.19), layer=67, texttype=5))
sky130_fd_sc_hd__clkbuf_.add(gdstk.Label('X', (8.05,0.85), layer=67, texttype=5))
sky130_fd_sc_hd__clkbuf_.add(gdstk.Label('X', (8.51,0.85), layer=67, texttype=5))
sky130_fd_sc_hd__clkbuf_.add(gdstk.Label('A', (0.23,0.85), layer=67, texttype=5))
sky130_fd_sc_hd__clkbuf_.add(gdstk.Label('A', (0.23,1.19), layer=67, texttype=5))
sky130_fd_sc_hd__clkbuf_.add(gdstk.Label('X', (8.05,1.53), layer=67, texttype=5))
sky130_fd_sc_hd__clkbuf_.add(gdstk.Label('X', (8.51,1.53), layer=67, texttype=5))
sky130_fd_sc_hd__clkbuf_.add(gdstk.Label('X', (8.51,1.19), layer=67, texttype=5))
sky130_fd_sc_hd__clkbuf_.add(gdstk.Label('X', (8.05,1.19), layer=67, texttype=5))
sky130_fd_sc_hd__clkbuf_.add(gdstk.Label('X', (8.05,0.85), layer=67, texttype=5))
sky130_fd_sc_hd__clkbuf_.add(gdstk.Label('X', (8.51,0.85), layer=67, texttype=5))
sky130_fd_sc_hd__clkbuf_.add(gdstk.Label('A', (0.23,0.85), layer=67, texttype=5))
sky130_fd_sc_hd__clkbuf_.add(gdstk.Label('A', (0.23,1.19), layer=67, texttype=5))
sky130_fd_sc_hd__clkbuf_.add(gdstk.Label('X', (8.05,1.53), layer=67, texttype=5))
sky130_fd_sc_hd__clkbuf_.add(gdstk.Label('X', (8.51,1.53), layer=67, texttype=5))
sky130_fd_sc_hd__clkbuf_.add(gdstk.Label('X', (8.51,1.19), layer=67, texttype=5))
sky130_fd_sc_hd__clkbuf_.add(gdstk.Label('X', (8.05,1.19), layer=67, texttype=5))
sky130_fd_sc_hd__clkbuf_.add(gdstk.Label('X', (8.05,0.85), layer=67, texttype=5))
sky130_fd_sc_hd__clkbuf_.add(gdstk.Label('X', (8.51,0.85), layer=67, texttype=5))
sky130_fd_sc_hd__clkbuf_.add(gdstk.Label('A', (0.23,0.85), layer=67, texttype=5))
sky130_fd_sc_hd__clkbuf_.add(gdstk.Label('A', (0.23,1.19), layer=67, texttype=5))
sky130_fd_sc_hd__clkbuf_.add(gdstk.Label('X', (8.05,1.53), layer=67, texttype=5))
sky130_fd_sc_hd__clkbuf_.add(gdstk.Label('X', (8.51,1.53), layer=67, texttype=5))
sky130_fd_sc_hd__clkbuf_.add(gdstk.Label('X', (8.51,1.19), layer=67, texttype=5))
sky130_fd_sc_hd__clkbuf_.add(gdstk.Label('X', (8.05,1.19), layer=67, texttype=5))
sky130_fd_sc_hd__clkbuf_.add(gdstk.Label('X', (8.05,0.85), layer=67, texttype=5))
sky130_fd_sc_hd__clkbuf_.add(gdstk.Label('X', (8.51,0.85), layer=67, texttype=5))
sky130_fd_sc_hd__clkbuf_.add(gdstk.Label('A', (0.23,0.85), layer=67, texttype=5))
sky130_fd_sc_hd__clkbuf_.add(gdstk.Label('A', (0.23,1.19), layer=67, texttype=5))
sky130_fd_sc_hd__clkbuf_.add(gdstk.Label('VGND', (0.23,0), layer=68, texttype=5))
sky130_fd_sc_hd__clkbuf_.add(gdstk.Label('VPWR', (0.23,2.72), layer=68, texttype=5))
sky130_fd_sc_hd__clkbuf_.add(gdstk.Label('VGND', (0.23,0), layer=68, texttype=5))
sky130_fd_sc_hd__clkbuf_.add(gdstk.Label('VPWR', (0.23,2.72), layer=68, texttype=5))
sky130_fd_sc_hd__clkbuf_.add(gdstk.Label('VGND', (0.23,0), layer=68, texttype=5))
sky130_fd_sc_hd__clkbuf_.add(gdstk.Label('VPWR', (0.23,2.72), layer=68, texttype=5))
sky130_fd_sc_hd__clkbuf_.add(gdstk.Label('VGND', (0.23,0), layer=68, texttype=5))
sky130_fd_sc_hd__clkbuf_.add(gdstk.Label('VPWR', (0.23,2.72), layer=68, texttype=5))
sky130_fd_sc_hd__clkbuf_.add(gdstk.Label('VPB', (0.23,2.72), layer=64, texttype=5))
sky130_fd_sc_hd__clkbuf_.add(gdstk.Label('VPB', (0.23,2.72), layer=64, texttype=5))
sky130_fd_sc_hd__clkbuf_.add(gdstk.Label('VPB', (0.23,2.72), layer=64, texttype=5))
sky130_fd_sc_hd__clkbuf_.add(gdstk.Label('VPB', (0.23,2.72), layer=64, texttype=5))
sky130_fd_sc_hd__clkbuf_.add(gdstk.Label('VPB', (0.23,2.72), layer=64, texttype=5))
sky130_fd_sc_hd__clkbuf_.add(gdstk.Label('VPB', (0.23,2.72), layer=64, texttype=5))
sky130_fd_sc_hd__clkbuf_.add(gdstk.Label('VPB', (0.23,2.72), layer=64, texttype=5))
sky130_fd_sc_hd__clkbuf_.add(gdstk.Label('VPB', (0.23,2.72), layer=64, texttype=5))
sky130_fd_sc_hd__clkbuf_.add(gdstk.Label('VNB', (0.23,0), layer=64, texttype=59))
sky130_fd_sc_hd__clkbuf_.add(gdstk.Label('VNB', (0.23,0), layer=64, texttype=59))
sky130_fd_sc_hd__clkbuf_.add(gdstk.Label('VNB', (0.23,0), layer=64, texttype=59))
sky130_fd_sc_hd__clkbuf_.add(gdstk.Label('VNB', (0.23,0), layer=64, texttype=59))
sky130_fd_sc_hd__clkbuf_.add(gdstk.Label('VNB', (0.23,0), layer=64, texttype=59))
sky130_fd_sc_hd__clkbuf_.add(gdstk.Label('VNB', (0.23,0), layer=64, texttype=59))
sky130_fd_sc_hd__clkbuf_.add(gdstk.Label('VNB', (0.23,0), layer=64, texttype=59))
sky130_fd_sc_hd__clkbuf_.add(gdstk.Label('VNB', (0.23,0), layer=64, texttype=59))
sky130_fd_sc_hd__clkbuf_.add(gdstk.Label('clkbuf_16', (0,0), layer=83, texttype=44))
sky130_fd_sc_hd__clkbuf_.add(gdstk.Label('clkbuf_16', (0,0), layer=83, texttype=44))
sky130_fd_sc_hd__clkbuf_.add(gdstk.Label('clkbuf_16', (0,0), layer=83, texttype=44))
sky130_fd_sc_hd__clkbuf_.add(gdstk.Label('clkbuf_16', (0,0), layer=83, texttype=44))

lib.write_gds('sky130_fd_sc_hd__clkbuf_16.gds')
